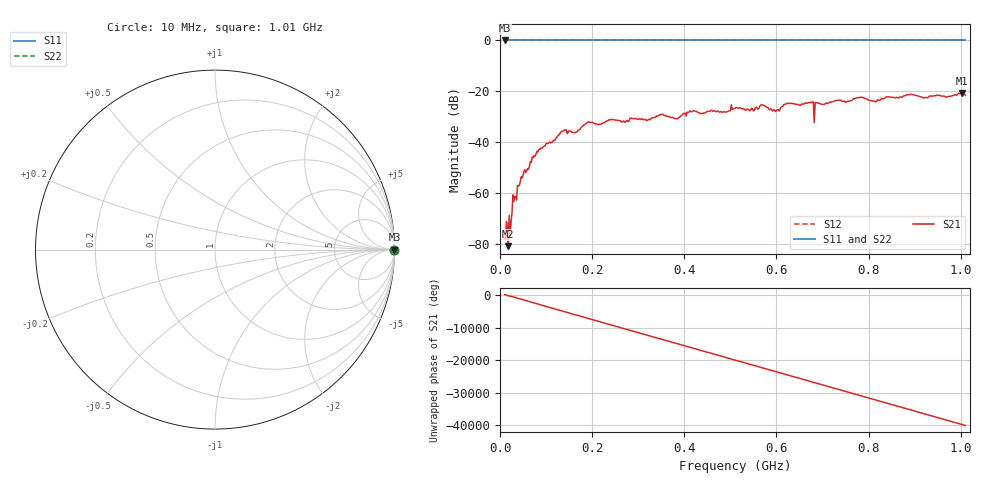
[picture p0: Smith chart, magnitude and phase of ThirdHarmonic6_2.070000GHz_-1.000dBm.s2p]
! 8/17/2025 12:47:57 AM
! C:\ANRITSUVNA\TEMP\TEMP.S2P
! CHANNEL.1
! TR.MEASUREMENT
! RAW.DATA
! RF.CORRECTION.OFF
! AVERAGING.OFF
! IF.BANDWIDTH: 5KHZ
! SWEEPTYPE:  FREQ.SWEEP(Linear)
! Reference Plane Port Info
! PORT:  PORT1  PORT2
! DISTANCE:  0  m  0  m
! TIME:  0  s  0  s
! PHASE.OFFSET:  0  deg.  0  deg.
! LOSS:  0  dB  0  dB
! REF.LOSS:  0  dB  0  dB
! REF.FREQ:  0  Hz  0  Hz
! Power Info
! POWER:  -20  dBm  -20  dBm
! EFF.POWER:  -20  dBm  -20  dBm
! SOURCE.ATTEN:  0  dB  0  dB
! TEST.ATTEN:  0  dB  0  dB
# GHZ S RI R 50.0
! FREQ.GHZ  S11RE  S11IM  S21RE  S21IM  S12RE  S12IM  S22RE  S22IM
!; PortSelection: Port_12
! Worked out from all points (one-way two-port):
!   501 points, 10 MHz to 1.01 GHz, reference 50 ohm
!   highest |S21| = -20.65 dB at 1.002 GHz (marker M1); lowest = -80.9 dB at 18 MHz (marker M2)
!   lowest |S11| = 0.0 dB at 10 MHz (marker M3)
!   |S11| at or under -10 dB: nowhere
!   |S22| runs from 0.0 to 0.0 dB; largest |S21 - S12| = 1.1
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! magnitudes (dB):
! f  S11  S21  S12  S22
! 10 MHz  0.0  -77.4  0.0  0.0
! 18 MHz  0.0  -80.9  0.0  0.0
! 22 MHz  0.0  -77.4  0.0  0.0
! 30 MHz  0.0  -63.3  0.0  0.0
! 42 MHz  0.0  -57.1  0.0  0.0
! 74 MHz  0.0  -45.3  0.0  0.0
! 136 MHz  0.0  -35.8  0.0  0.0
! 162 MHz  0.0  -36.3  0.0  0.0
! 178 MHz  0.0  -33.9  0.0  0.0
! 192 MHz  0.0  -32.1  0.0  0.0
! 344 MHz  0.0  -29.6  0.0  0.0
! 382 MHz  0.0  -30.8  0.0  0.0
! 416 MHz  0.0  -28.1  0.0  0.0
! 510 MHz  0.0  -26.7  0.0  0.0
! 570 MHz  0.0  -25.4  0.0  0.0
! 602 MHz  0.0  -27.2  0.0  0.0
! 624 MHz  0.0  -24.7  0.0  0.0
! 676 MHz  0.0  -24.4  0.0  0.0
! 678 MHz  0.0  -24.2  0.0  0.0
! 844 MHz  0.0  -22.2  0.0  0.0
! 1.002 GHz  0.0  -20.7  0.0  0.0
! 1.01 GHz  0.0  -21.5  0.0  0.0
